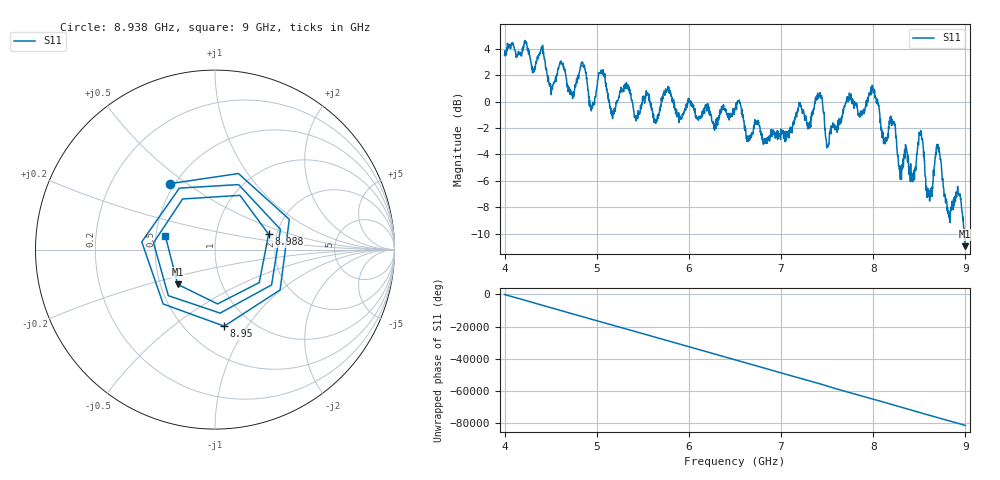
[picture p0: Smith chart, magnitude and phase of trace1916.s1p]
! Created with skrf 1.8.0 (http://scikit-rf.org).
# Hz S RI R 50.0
!freq ReS11 ImS11
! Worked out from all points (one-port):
!   1601 points, 4 GHz to 9 GHz, reference 50 ohm
!   lowest |S11| = -10.9 dB at 8.997 GHz (marker M1), VSWR 1.79, Z = 30.7 - j13 ohm
!   |S11| at or under -10 dB: 8.986988 GHz to end of sweep
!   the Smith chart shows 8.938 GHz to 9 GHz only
!   S11 on the Smith chart (normalised r, x): 8.938 GHz: 0.47, +0.43; 8.95 GHz: 0.75, -0.79; 8.988 GHz: 1.81, +0.34; 9 GHz: 0.56, +0.09
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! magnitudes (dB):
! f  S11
! 4 GHz  3.5
! 4.625 GHz  2.8
! 4.734 GHz  0.6
! 4.85 GHz  2.9
! 4.944 GHz  -0.4
! 5.044 GHz  2.2
! 5.162 GHz  -1.0
! 5.25 GHz  0.8
! 5.875 GHz  -1.1
! 6.5 GHz  -0.5
! 6.647 GHz  -2.7
! 7.125 GHz  -1.8
! 7.422 GHz  0.7
! 7.506 GHz  -3.4
! 7.75 GHz  0.5
! 7.997 GHz  1.1
! 8.109 GHz  -2.4
! 8.375 GHz  -4.1
! 8.438 GHz  -5.7
! 8.516 GHz  -2.2
! 8.597 GHz  -7.0
! 8.7 GHz  -3.2
! 8.809 GHz  -8.5
! 8.938 GHz  -7.0
! 8.95 GHz  -7.3
! 8.988 GHz  -10.1
! 8.997 GHz  -10.9
! 9 GHz  -10.9
